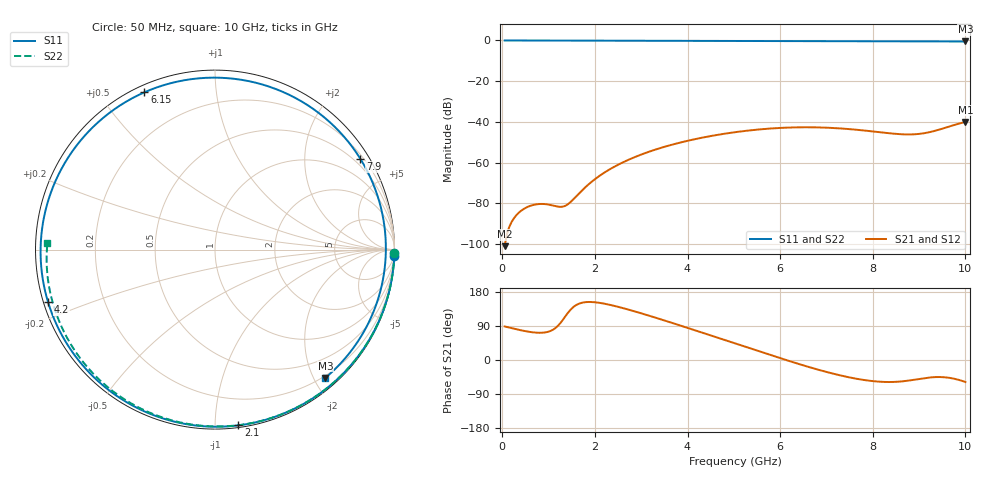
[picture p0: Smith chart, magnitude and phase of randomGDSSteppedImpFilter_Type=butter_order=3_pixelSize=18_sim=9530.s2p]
! freq	dB(S11)	phase(S11)	dB(S12)	phase(S12)
!  dB(S21)	phase(S21)	dB(S22)	phase(S22)
!S-par simulation data
#  GHz  S  DB  R 50
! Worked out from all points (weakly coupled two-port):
!   200 points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, 50 MHz to 10 GHz, reference 50 ohm
!   highest |S21| = -40.02 dB at 10 GHz (marker M1); lowest = -101.1 dB at 50 MHz (marker M2)
!   lowest |S11| = -0.5 dB at 10 GHz (marker M3), VSWR 33.92, Z = 8.44 - j108 ohm
!   |S11| at or under -10 dB: nowhere
!   |S22| runs from -0.6 to 0.0 dB; largest |S21 - S12| = 0
!   S11 on the Smith chart (normalised r, x): 50 MHz: 0, -56; 2.1 GHz: 0.01, -1.14; 4.2 GHz: 0.01, -0.15; 6.15 GHz: 0.03, +0.65; 7.9 GHz: 0.30, +3.47; 10 GHz: 0.17, -2.17
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0.05  -0.00 -2.0  -101.08 88.6  -101.08 88.6  -0.00 -1.1
0.7  -0.04 -28.0  -80.67 72.5  -80.67 72.5  -0.02 -14.8
1.45  -0.07 -57.4  -79.88 129.4  -79.88 129.4  -0.04 -30.5
1.75  -0.09 -69.0  -73.05 151.8  -73.05 151.8  -0.05 -36.6
2.1  -0.10 -82.4  -66.51 150.8  -66.51 150.8  -0.06 -43.7
2.75  -0.14 -107.0  -58.38 132.1  -58.38 132.1  -0.07 -56.6
3.4  -0.17 -131.6  -52.95 108.2  -52.95 108.2  -0.09 -69.1
3.8  -0.19 -146.9  -50.41 92.7  -50.41 92.7  -0.10 -76.5
4.2  -0.22 -162.5  -48.31 76.9  -48.31 76.9  -0.12 -83.9
4.65  -0.25 179.5  -46.38 58.9  -46.38 58.9  -0.13 -92.0
5.05  -0.28 162.9  -45.00 42.8  -45.00 42.8  -0.15 -99.0
5.6  -0.32 139.1  -43.62 20.7  -43.62 20.7  -0.18 -108.5
6.15  -0.35 114.1  -42.83 -0.9  -42.83 -0.9  -0.21 -117.9
6.7  -0.37 88.3  -42.67 -21.4  -42.67 -21.4  -0.25 -127.0
7.25  -0.39 62.1  -43.15 -39.2  -43.15 -39.2  -0.29 -136.1
7.6  -0.40 45.7  -43.77 -48.4  -43.77 -48.4  -0.32 -141.9
7.9  -0.40 32.0  -44.45 -54.3  -44.45 -54.3  -0.34 -146.8
8.35  -0.42 12.2  -45.58 -58.1  -45.58 -58.1  -0.39 -154.3
8.7  -0.43 -2.4  -46.16 -55.5  -46.16 -55.5  -0.42 -160.1
9.05  -0.45 -16.1  -45.78 -49.0  -45.78 -49.0  -0.46 -166.0
9.55  -0.48 -34.3  -43.02 -45.6  -43.02 -45.6  -0.52 -174.5
10  -0.51 -49.3  -40.02 -58.0  -40.02 -58.0  -0.59 177.7
